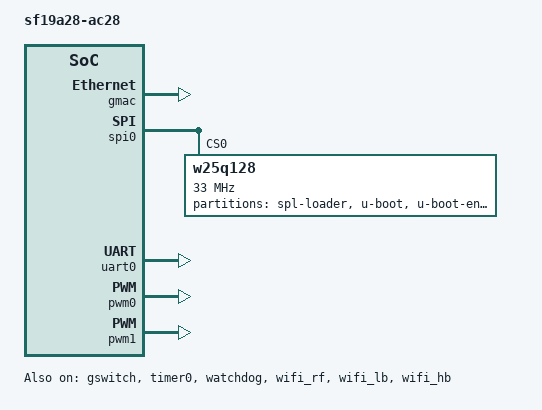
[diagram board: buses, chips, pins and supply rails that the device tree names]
/dts-v1/;

#include "sf19a28_mpw1.dtsi"


/ {
	#address-cells = <1>;
	#size-cells = <1>;
	compatible = "siflower,sf19a28-soc";
	model = "sf19a28-ac28";

};

&gmac {
	status = "okay";
};

&gswitch {
	status = "okay";
};

/* This is used to set voltage during dvfs.
 * You should first know which pmu is in use, and
 * remove the default core-voltage set in pmu dts.
 */
/*
&cpu0 {
       cpu0-supply = <&rn5t567_core>;
       dcdc0-maxv = <1000000>;
};
*/


&i2c0 {
	status = "disabled";
	#address-cells = <1>;
	#size-cells = <0>;
};


&spi0 {
	status = "okay";
	//use-dma;
	dmas = <&gdma 10
	&gdma 11>;
	dma-names = "tx", "rx";

	#address-cells = <1>;
	#size-cells = <0>;

	w25q128@0 {
		compatible = "w25q128";
		reg = <0>;	/* chip select */
		spi-max-frequency = <33000000>;

		bank-width = <2>;
		device-width = <2>;
		#address-cells = <1>;
		#size-cells = <1>;

		partition@0 {
			label = "spl-loader";
			reg = <0x0 0x20000>; /* 128k */
			read-only;
		};

		partition@20000 {
			label = "u-boot";
			reg = <0x20000 0x60000>; /* 384k */
		};

		partition@80000 {
			label = "u-boot-env";
			reg = <0x80000 0x10000>; /* 64k */
		};

		factory:partition@90000 {
			label = "factory";
			reg = <0x90000 0x10000>; /* 64k */
		};

		partition@a0000 {
			label = "firmware";
			reg = <0xa0000 0xf60000>; /* 640k-16M */
		};
	};
};

&uart0 {
	status = "okay";
};

&uart1 {
	status = "disabled";
};

&pwm0 {
	status = "okay";
};

&pwm1 {
	status = "okay";
};

&timer0 {
	status = "okay";
};

&watchdog {
	status = "okay";
};

&wifi_rf {
	status = "okay";
    /*only support ext pa for 5G*/
    force_expa = <1>;
};

&wifi_lb {
	status = "okay";

	#address-cells = <1>;
	#size-cells = <0>;
	gpio-leds = <&gpio 12 0>;
	smp-affinity = <2>;
};

&wifi_hb {
	status = "okay";

	#address-cells = <1>;
	#size-cells = <0>;
	gpio-leds = <&gpio 12 0>;
	smp-affinity = <3>;
};
